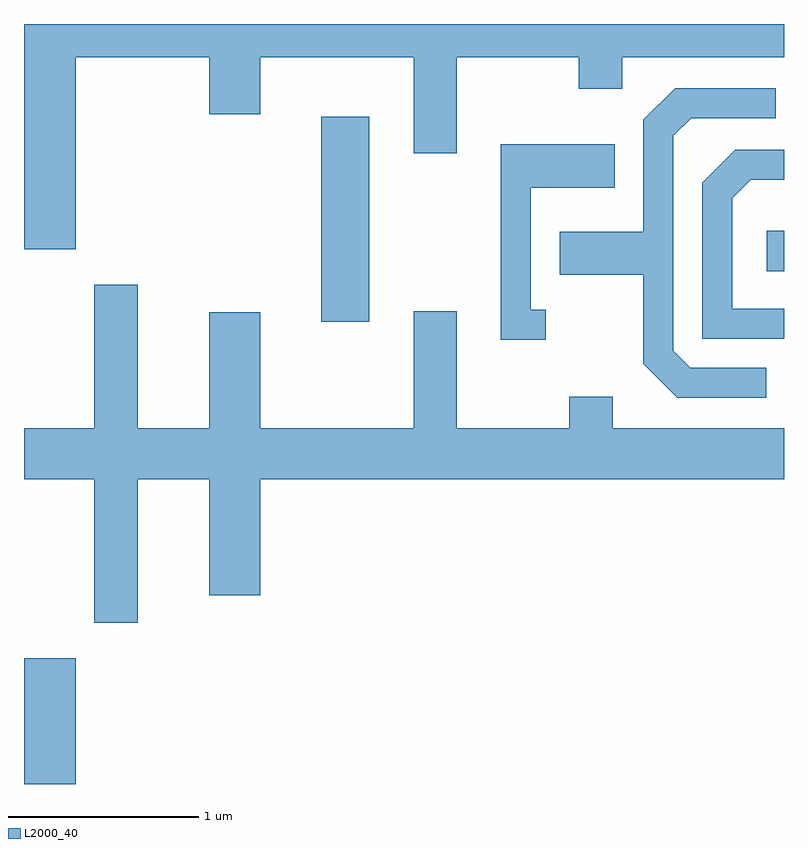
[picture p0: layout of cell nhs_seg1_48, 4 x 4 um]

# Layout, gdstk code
import gdstk
lib = gdstk.Library(unit=1e-6, precision=1e-09)
def R(c, l, rs):  # rectangles x0, y0, x1, y1
    for r in rs: c.add(gdstk.rectangle(r[:2], r[2:], *l))
def P(c, l, *ps):  # polygons
    for p in ps: c.add(gdstk.Polygon(p, *l))
L2000_40 = (2000, 40)

nhs_seg1_48 = lib.new_cell('nhs_seg1_48')
R(nhs_seg1_48, L2000_40, [(185.611,935.712,185.884,936.374), (187.176,938.146,187.429,939.224), (189.521,938.411,189.611,938.624)])
P(nhs_seg1_48, L2000_40, [(185.884,939.536),(186.586,939.536),(186.586,939.236),(186.854,939.236),(186.854,939.536),(187.661,939.536),(187.661,939.031),(187.889,939.031),(187.889,939.536),(188.531,939.536),(188.531,939.371),(188.759,939.371),(188.759,939.536),(189.611,939.536),(189.611,939.712),(185.611,939.712),(185.611,938.526),(185.884,938.526)],
  [(189.518,937.904),(189.117,937.904),(189.029,937.992),(189.029,939.124),(189.122,939.216),(189.568,939.216),(189.568,939.374),(189.039,939.374),(188.871,939.207),(188.871,938.619),(188.431,938.619),(188.431,938.391),(188.871,938.391),(188.871,937.924),(189.049,937.746),(189.518,937.746)],
  [(188.358,938.209),(188.279,938.209),(188.279,938.851),(188.719,938.851),(188.719,939.079),(188.121,939.079),(188.121,938.051),(188.358,938.051)],
  [(189.611,938.214),(189.339,938.214),(189.339,938.794),(189.437,938.891),(189.611,938.891),(189.611,939.049),(189.354,939.049),(189.181,938.877),(189.181,938.056),(189.611,938.056)],
  [(186.209,937.316),(186.586,937.316),(186.586,936.706),(186.854,936.706),(186.854,937.316),(189.611,937.316),(189.611,937.584),(188.709,937.584),(188.709,937.749),(188.481,937.749),(188.481,937.584),(187.889,937.584),(187.889,938.199),(187.661,938.199),(187.661,937.584),(186.854,937.584),(186.854,938.194),(186.586,938.194),(186.586,937.584),(186.209,937.584),(186.209,938.339),(185.981,938.339),(185.981,937.584),(185.611,937.584),(185.611,937.316),(185.981,937.316),(185.981,936.561),(186.209,936.561)])

lib.write_gds('nhs_seg1_48.gds')
